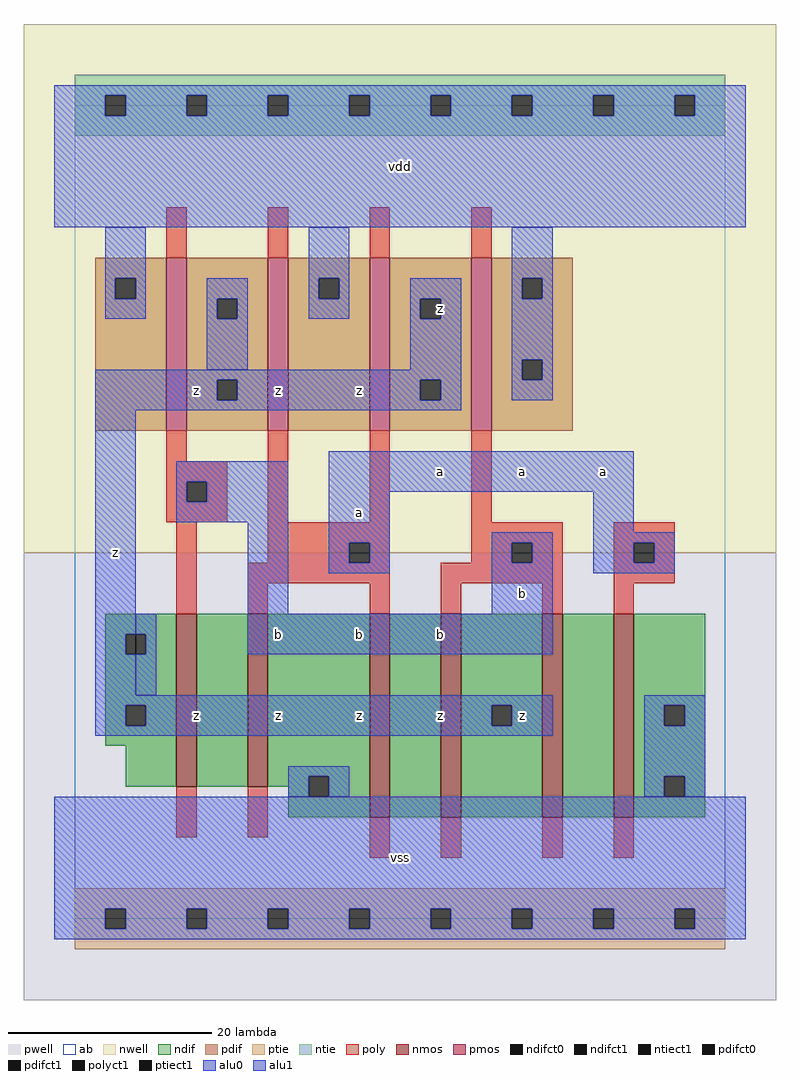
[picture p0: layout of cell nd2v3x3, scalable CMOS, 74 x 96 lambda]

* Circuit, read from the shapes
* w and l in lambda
.subckt nd2v3x3 a b vdd vss z
M1 n1 b z vss nfet w=17 l=2
M2 vss a n1 vss nfet w=17 l=2
M3 n2 a vss vss nfet w=20 l=2
M4 z b n2 vss nfet w=20 l=2
M5 n3 b z vss nfet w=20 l=2
M6 vss a n3 vss nfet w=20 l=2
M7 z b vdd vdd pfet w=17 l=2 m=2
M8 vdd a z vdd pfet w=17 l=2 m=2
.ends

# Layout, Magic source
magic
tech scmos
<< ab >>
rect 0 0 64 80
<< nwell >>
rect -5 36 69 88
<< pwell >>
rect -5 -8 69 36
<< poly >>
rect 9 65 11 70
rect 19 65 21 70
rect 29 65 31 70
rect 39 65 41 70
rect 9 45 11 48
rect 9 43 15 45
rect 9 41 11 43
rect 13 41 15 43
rect 9 39 15 41
rect 19 39 21 48
rect 29 39 31 48
rect 10 30 12 39
rect 19 37 31 39
rect 19 35 27 37
rect 29 35 31 37
rect 39 39 41 48
rect 39 37 48 39
rect 39 35 43 37
rect 45 35 48 37
rect 17 33 31 35
rect 17 30 19 33
rect 29 30 31 33
rect 36 33 48 35
rect 36 30 38 33
rect 46 30 48 33
rect 53 37 59 39
rect 53 35 55 37
rect 57 35 59 37
rect 53 33 59 35
rect 53 30 55 33
rect 10 8 12 13
rect 17 8 19 13
rect 29 6 31 10
rect 36 6 38 10
rect 46 6 48 10
rect 53 6 55 10
<< ndif >>
rect 3 28 10 30
rect 3 26 5 28
rect 7 26 10 28
rect 3 21 10 26
rect 3 19 5 21
rect 7 19 10 21
rect 3 17 10 19
rect 5 13 10 17
rect 12 13 17 30
rect 19 14 29 30
rect 19 13 23 14
rect 21 12 23 13
rect 25 12 29 14
rect 21 10 29 12
rect 31 10 36 30
rect 38 21 46 30
rect 38 19 41 21
rect 43 19 46 21
rect 38 10 46 19
rect 48 10 53 30
rect 55 21 62 30
rect 55 19 58 21
rect 60 19 62 21
rect 55 14 62 19
rect 55 12 58 14
rect 60 12 62 14
rect 55 10 62 12
<< pdif >>
rect 2 63 9 65
rect 2 61 4 63
rect 6 61 9 63
rect 2 48 9 61
rect 11 61 19 65
rect 11 59 14 61
rect 16 59 19 61
rect 11 53 19 59
rect 11 51 14 53
rect 16 51 19 53
rect 11 48 19 51
rect 21 63 29 65
rect 21 61 24 63
rect 26 61 29 63
rect 21 48 29 61
rect 31 61 39 65
rect 31 59 34 61
rect 36 59 39 61
rect 31 53 39 59
rect 31 51 34 53
rect 36 51 39 53
rect 31 48 39 51
rect 41 63 49 65
rect 41 61 44 63
rect 46 61 49 63
rect 41 55 49 61
rect 41 53 44 55
rect 46 53 49 55
rect 41 48 49 53
<< alu1 >>
rect -2 81 66 82
rect -2 79 3 81
rect 5 79 11 81
rect 13 79 19 81
rect 21 79 27 81
rect 29 79 35 81
rect 37 79 43 81
rect 45 79 51 81
rect 53 79 59 81
rect 61 79 66 81
rect -2 68 66 79
rect 33 61 38 63
rect 33 59 34 61
rect 36 59 38 61
rect 33 54 38 59
rect 2 53 38 54
rect 2 51 14 53
rect 16 51 34 53
rect 36 51 38 53
rect 2 50 38 51
rect 2 28 6 50
rect 10 43 21 45
rect 10 41 11 43
rect 13 41 21 43
rect 10 39 21 41
rect 17 30 21 39
rect 25 42 55 46
rect 25 37 31 42
rect 51 38 55 42
rect 25 35 27 37
rect 29 35 31 37
rect 25 34 31 35
rect 41 37 47 38
rect 41 35 43 37
rect 45 35 47 37
rect 41 30 47 35
rect 51 37 59 38
rect 51 35 55 37
rect 57 35 59 37
rect 51 34 59 35
rect 2 26 5 28
rect 17 26 47 30
rect 2 22 6 26
rect 2 21 47 22
rect 2 19 5 21
rect 7 19 41 21
rect 43 19 47 21
rect 2 18 47 19
rect -2 1 66 12
rect -2 -1 3 1
rect 5 -1 11 1
rect 13 -1 19 1
rect 21 -1 27 1
rect 29 -1 35 1
rect 37 -1 43 1
rect 45 -1 51 1
rect 53 -1 59 1
rect 61 -1 66 1
rect -2 -2 66 -1
<< ptie >>
rect 0 1 64 3
rect 0 -1 3 1
rect 5 -1 11 1
rect 13 -1 19 1
rect 21 -1 27 1
rect 29 -1 35 1
rect 37 -1 43 1
rect 45 -1 51 1
rect 53 -1 59 1
rect 61 -1 64 1
rect 0 -3 64 -1
<< ntie >>
rect 0 81 64 83
rect 0 79 3 81
rect 5 79 11 81
rect 13 79 19 81
rect 21 79 27 81
rect 29 79 35 81
rect 37 79 43 81
rect 45 79 51 81
rect 53 79 59 81
rect 61 79 64 81
rect 0 77 64 79
<< nmos >>
rect 10 13 12 30
rect 17 13 19 30
rect 29 10 31 30
rect 36 10 38 30
rect 46 10 48 30
rect 53 10 55 30
<< pmos >>
rect 9 48 11 65
rect 19 48 21 65
rect 29 48 31 65
rect 39 48 41 65
<< polyct1 >>
rect 11 41 13 43
rect 27 35 29 37
rect 43 35 45 37
rect 55 35 57 37
<< ndifct0 >>
rect 6 26 7 28
rect 23 12 25 14
rect 58 19 60 21
rect 58 12 60 14
<< ndifct1 >>
rect 5 26 6 28
rect 5 19 7 21
rect 41 19 43 21
<< ntiect1 >>
rect 3 79 5 81
rect 11 79 13 81
rect 19 79 21 81
rect 27 79 29 81
rect 35 79 37 81
rect 43 79 45 81
rect 51 79 53 81
rect 59 79 61 81
<< ptiect1 >>
rect 3 -1 5 1
rect 11 -1 13 1
rect 19 -1 21 1
rect 27 -1 29 1
rect 35 -1 37 1
rect 43 -1 45 1
rect 51 -1 53 1
rect 59 -1 61 1
<< pdifct0 >>
rect 4 61 6 63
rect 14 59 16 61
rect 24 61 26 63
rect 44 61 46 63
rect 44 53 46 55
<< pdifct1 >>
rect 14 51 16 53
rect 34 59 36 61
rect 34 51 36 53
<< alu0 >>
rect 3 63 7 68
rect 23 63 27 68
rect 43 63 47 68
rect 3 61 4 63
rect 6 61 7 63
rect 3 59 7 61
rect 13 61 17 63
rect 13 59 14 61
rect 16 59 17 61
rect 23 61 24 63
rect 26 61 27 63
rect 23 59 27 61
rect 13 54 17 59
rect 43 61 44 63
rect 46 61 47 63
rect 43 55 47 61
rect 43 53 44 55
rect 46 53 47 55
rect 43 51 47 53
rect 6 28 8 30
rect 7 26 8 28
rect 6 22 8 26
rect 56 21 62 22
rect 56 19 58 21
rect 60 19 62 21
rect 21 14 27 15
rect 21 12 23 14
rect 25 12 27 14
rect 56 14 62 19
rect 56 12 58 14
rect 60 12 62 14
<< labels >>
rlabel alu1 12 20 12 20 6 z
rlabel alu1 4 36 4 36 6 z
rlabel alu1 12 52 12 52 6 z
rlabel alu1 20 20 20 20 6 z
rlabel alu1 28 20 28 20 6 z
rlabel alu1 28 28 28 28 6 b
rlabel alu1 20 28 20 28 6 b
rlabel alu1 28 40 28 40 6 a
rlabel alu1 28 52 28 52 6 z
rlabel alu1 20 52 20 52 6 z
rlabel alu1 32 6 32 6 6 vss
rlabel alu1 44 20 44 20 6 z
rlabel alu1 36 20 36 20 6 z
rlabel alu1 36 28 36 28 6 b
rlabel alu1 44 32 44 32 6 b
rlabel alu1 44 44 44 44 6 a
rlabel alu1 36 44 36 44 6 a
rlabel alu1 36 60 36 60 6 z
rlabel alu1 32 74 32 74 6 vdd
rlabel alu1 52 44 52 44 6 a
<< end >>
